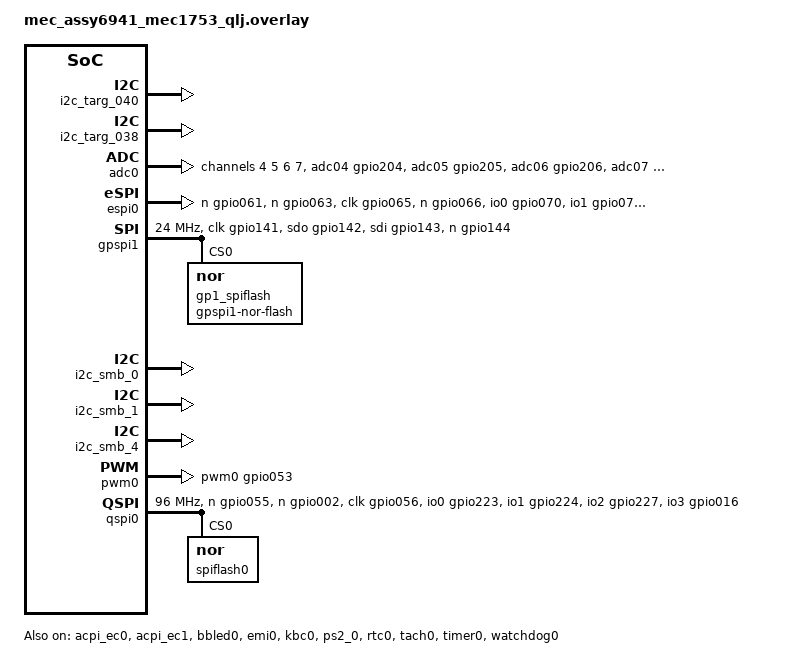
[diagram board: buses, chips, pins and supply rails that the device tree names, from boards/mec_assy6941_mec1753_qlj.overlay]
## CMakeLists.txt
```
# Copyright (c) 2026 Microchip Technology Inc.
#
# SPDX-License-Identifier: Apache-2.0
#
cmake_minimum_required(VERSION 3.20.0)

find_package(Zephyr REQUIRED HINTS $ENV{ZEPHYR_BASE})
project(microchip_mec_assy6941_pm_dev)

file(GLOB app_sources src/*.c)

target_sources(app PRIVATE ${app_sources})
```

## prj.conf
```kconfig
# Copyright (c) 2026 Microchip Technology Inc.
# SPDX-License-Identifier: Apache-2.0

# Console logging. Immediate mode makes log calls synchronous so the
# "entering deep sleep" line is fully flushed before the WFI, and there is
# no deferred log-processing thread that would keep the system from idling
# into the forced suspend-to-RAM state.
CONFIG_STDOUT_CONSOLE=y
CONFIG_LOG=y
CONFIG_LOG_MODE_IMMEDIATE=y

CONFIG_I2C=y
CONFIG_I2C_TARGET=y
# Buffer-mode target callbacks. Required by the NL driver's target_register
# (it rejects a target without buf_write_received); the byte-mode driver
# supports buffer mode too, so one main.c serves both boards.
CONFIG_I2C_TARGET_BUFFER_MODE=y

CONFIG_MSPI=y
CONFIG_MSPI_DMA=y

CONFIG_ADC=y
CONFIG_PWM=y
CONFIG_SENSOR=y

# eSPI
CONFIG_ESPI=y
CONFIG_ESPI_PERIPHERAL_8042_KBC=y
CONFIG_ESPI_PERIPHERAL_EC_HOST_CMD=y
CONFIG_ESPI_PERIPHERAL_ACPI_SHM_REGION=y
CONFIG_ESPI_PERIPHERAL_CUSTOM_OPCODE=y
CONFIG_ESPI_AUTOMATIC_WARNING_ACKNOWLEDGE=n
CONFIG_ESPI_AUTOMATIC_BOOT_DONE_ACKNOWLEDGE=y
# driver debug messages
# CONFIG_ESPI_LOG_LEVEL_DBG=y

CONFIG_PS2=y
CONFIG_PS2_XEC=y

# Power management. CONFIG_PM enables the suspend-to-RAM (deep sleep) state
# defined on the board dts; CONFIG_PM_DEVICE gates the I2C driver's per-device
# pm_action hooks, which arm the START-detect wake on a wakeup-source target.
CONFIG_PM=y
CONFIG_PM_DEVICE=y

# CONFIG_DEBUG=y
```

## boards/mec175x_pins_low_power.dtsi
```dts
/*
 * Copyright (c) 2026 Microchip Technology Inc.
 *
 * SPDX-License-Identifier: Apache-2.0
 */

#include <zephyr/dt-bindings/pinctrl/mchp-xec-pinctrl.h>

/* define sleep states for various pins */
&pinctrl {
	adc04_gpio204_lp: adc04_gpio204_lp {
		pinmux = <MCHP_XEC_PINMUX(0204, MCHP_AF1)>;
		low-power-enable;
	};
	adc05_gpio205_lp: adc05_gpio205_lp {
		pinmux = <MCHP_XEC_PINMUX(0205, MCHP_AF1)>;
		low-power-enable;
	};
	adc06_gpio206_lp: adc06_gpio206_lp {
		pinmux = <MCHP_XEC_PINMUX(0206, MCHP_AF1)>;
		low-power-enable;
	};
	adc07_gpio207_lp: adc07_gpio207_lp {
		pinmux = <MCHP_XEC_PINMUX(0207, MCHP_AF1)>;
		low-power-enable;
	};
	espi_reset_n_gpio061_lp: espi_reset_n_gpio061_lp {
		pinmux = <MCHP_XEC_PINMUX(0061, MCHP_AF1)>;
		low-power-enable;
	};
	espi_alert_n_gpio063_lp: espi_alert_n_gpio063_lp {
		pinmux = <MCHP_XEC_PINMUX(0063, MCHP_AF1)>;
		low-power-enable;
	};
	espi_clk_gpio065_lp: espi_clk_gpio065_lp {
		pinmux = <MCHP_XEC_PINMUX(0065, MCHP_AF1)>;
		low-power-enable;
	};
	espi_cs_n_gpio066_lp: espi_cs_n_gpio066_lp {
		pinmux = <MCHP_XEC_PINMUX(0066, MCHP_AF1)>;
		low-power-enable;
	};
	espi_io0_gpio070_lp: espi_io0_gpio070_lp {
		pinmux = <MCHP_XEC_PINMUX(0070, MCHP_AF1)>;
		low-power-enable;
	};
	espi_io1_gpio071_lp: espi_io1_gpio071_lp {
		pinmux = <MCHP_XEC_PINMUX(0071, MCHP_AF1)>;
		low-power-enable;
	};
	espi_io2_gpio072_lp: espi_io2_gpio072_lp {
		pinmux = <MCHP_XEC_PINMUX(0072, MCHP_AF1)>;
		low-power-enable;
	};
	espi_io3_gpio073_lp: espi_io3_gpio073_lp {
		pinmux = <MCHP_XEC_PINMUX(0073, MCHP_AF1)>;
		low-power-enable;
	};	
	i2c00_sda_gpio003_lp: i2c00_sda_gpio003_lp {
		pinmux = <MCHP_XEC_PINMUX(0003, MCHP_AF1)>;
		low-power-enable;
	};
	i2c00_scl_gpio004_lp: i2c00_scl_gpio004_lp {
		pinmux = <MCHP_XEC_PINMUX(0004, MCHP_AF1)>;
		low-power-enable;
	};
	i2c03_sda_gpio007_lp: i2c03_sda_gpio007_lp {
		pinmux = <MCHP_XEC_PINMUX(0007, MCHP_AF1)>;
		low-power-enable;
	};
	i2c03_scl_gpio010_lp: i2c03_scl_gpio010_lp {
		pinmux = <MCHP_XEC_PINMUX(0010, MCHP_AF1)>;
		low-power-enable;
	};
	i2c07_sda_gpio012_lp: i2c07_sda_gpio012_lp {
		pinmux = <MCHP_XEC_PINMUX(0012, MCHP_AF1)>;
		low-power-enable;
	};
	i2c07_scl_gpio013_lp: i2c07_scl_gpio013_lp {
		pinmux = <MCHP_XEC_PINMUX(0013, MCHP_AF1)>;
		low-power-enable;
	};
	ict0_tach0_gpio050_lp: ict0_tach0_gpio050_lp {
		pinmux = <MCHP_XEC_PINMUX(0050, MCHP_AF1)>;
		low-power-enable;
	};
	led0_gpio156_lp: led0_gpio156_lp {
		pinmux = <MCHP_XEC_PINMUX(0156, MCHP_AF1)>;
		low-power-enable;
	};
	ps2_clk0a_gpio114_lp: ps2_clk0a_gpio114_lp {
		pinmux = <MCHP_XEC_PINMUX(0114, MCHP_AF1)>;
		low-power-enable;
	};
	ps2_dat0a_gpio115_lp: ps2_dat0a_gpio115_lp {
		pinmux = <MCHP_XEC_PINMUX(0115, MCHP_AF1)>;
		low-power-enable;
	};
	pwm0_gpio053_lp: pwm0_gpio053_lp {
		pinmux = <MCHP_XEC_PINMUX(0053, MCHP_AF1)>;
		low-power-enable;
	};
	spi1_clk_gpio141_lp: spi1_clk_gpio141_lp {
		pinmux = <MCHP_XEC_PINMUX(0141, MCHP_AF3)>;
		low-power-enable;
	};
	spi1_sdo_gpio142_lp: spi1_sdo_gpio142_lp {
		pinmux = <MCHP_XEC_PINMUX(0142, MCHP_AF3)>;
		low-power-enable;
	};
	spi1_sdi_gpio143_lp: spi1_sdi_gpio143_lp {
		pinmux = <MCHP_XEC_PINMUX(0143, MCHP_AF3)>;
		low-power-enable;
	};
	spi1_cs_n_gpio144_lp: spi1_cs_n_gpio144_lp {
		pinmux = <MCHP_XEC_PINMUX(0144, MCHP_AF3)>;
		low-power-enable;
	};
};
```

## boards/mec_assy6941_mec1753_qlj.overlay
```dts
/*
 * Copyright (c) 2026 Microchip Technology Inc.
 *
 * SPDX-License-Identifier: Apache-2.0
 */

/* mec_assy6941 EVB - deep-sleep wake-on-I2C sample (I2Cv3-NL / DMA driver).
 *
 * Topology:
 *   SMB0 = controller on port 0 @ 100 kHz.
 *   SMB1 = target 0x40 on port 7 @ 100 kHz (plain, not wake-capable).
 *   SMB4 = target 0x38 on port 3 @ 100 kHz, WAKE-CAPABLE (wakeup-source).
 *
 * Set VTR2 to +3.3V, J68 2x8 1-2.
 *
 * I2C Port 0 (SMB0 controller)
 * ----------------------------
 * JP15 3x6 Pin Mux:   7-8 GPIO004 as I2C00_SCL, 4-5 GPIO003 as I2C00_SDA
 * JP27 3x12 Pin Mux:  31-32 GPIO004 as I2C00_SCL, 34-35 GPIO003 as I2C00_SDA
 * JP70 2x17 Pull-Ups: 19-20 ON, 21-22 ON (7.5K to VTR1)
 * J12 1x6: pin 1 = I2C00_SCL/GPIO004, pin 3 = I2C00_SDA/GPIO003, pin 5 = VTR1
 *
 * I2C Port 7 (SMB1 target 0x40)
 * -----------------------------
 * JP14 3x6:  7-8, 16-17
 * JP76 2x17: 21-22, 23-24 (7.5K to VTR2)
 * J22 1x6: pin 1 = I2C07_SCL/GPIO013, pin 3 = I2C07_SDA/GPIO012, pin 5 = VTR2
 *
 * Pre-sleep loopback self-test wiring (port 0 <-> port 7):
 *   Fly wire J22-1 to J12-1 (SCL) and J22-3 to J12-3 (SDA).
 *   SMB0 (port 0) drives the 0x40 target that SMB1 exposes on port 7.
 *
 * I2C Port 3 (SMB4 target 0x38, wake source)
 * ------------------------------------------
 * I2C03_SDA = GPIO007, I2C03_SCL = GPIO010.
 * Connect the EXTERNAL I2C controller here. After the SoC enters deep
 * sleep, a START + address 0x38 from that controller wakes it.
 *
 * JP11 3x6: PS2 Signal Demux
 * 7-8 jumper ON. Select I2C03_SCL for GPIO010
 * 10-11 jumper ON. Select I2C03_SDA for GPIO007
 *
 * JP29 3x8: UART-3 Signal Demux
 * 7-8 jumper ON. Select I2C03_SDA for GPIO007
 * 16-17 jumper ON. Select I2C03_SCL for GPIO010
 *
 * JP70 2x17: Pull-ups to VTR1(+3.3V)
 * 23-24 jumper ON. 7.5K pull-up on I2C03_SDA
 * 25-26 jumper ON. 7.5K pull-up on I2C03_SCL
 *
 * J15 1x6 header
 * 1 = I2C03_SCL
 * 2 = GND
 * 3 = I2C03_SDA
 * 4 = N/C
 * 5 = VTR1 (+3.3V)
 * 6 = GND
 *
 * Test pins
 * GPIO241
 * JP19 3x6 5-6
 * JP69 2x17 1-2 pull-up (100K) to VTR1
 *
 * GPIO255
 * JP24 3x16 7-8
 * JP74 2x17 29-30 pull-up (100K) to VTR1
 *
 * vci_in1_n_gpio162
 * J56 3-4 no jumper
 * J57 3-4 jumper switch S4 via schmidt trigger U19B
 * JP147 2x17 27-28 no jumper
 *
 * tst_clk_out_gpio060
 * CPU daughter card assy6949 J1 2x5 pin 1 = TST_CLK_OUT_HD, pin 3 = GND
 */

#include <zephyr/dt-bindings/gpio/microchip-xec-gpio.h>
#include <zephyr/dt-bindings/dma/mchp-xec-dmac.h>
#include <zephyr/dt-bindings/i2c/i2c.h>
#include <zephyr/dt-bindings/i2c/mchp-xec-i2c.h>
#include "mec175x_pins_low_power.dtsi"

/ {
	aliases {
		i2c0 = &i2c_smb_0;
		i2c1 = &i2c_smb_1;
		i2c4 = &i2c_smb_4;
	};

	/* Configure GPIO060 as test PLL clock out.
	 * We scope this pin to observe if PLL is turned off in deep sleep (suspend).
	*/
	zephyr,user {
		test-pm-gpios = <MCHP_GPIO_DECODE_241 0>, <MCHP_GPIO_DECODE_255 0>;
		pinctrl-0 = <&tst_clk_out_gpio060 &vci_in1_n_gpio162>;
		pinctrl-names = "default";
	};

	/* Port 0 on SMB0 - controller side of the loopback self-test. */
	i2c0_p0: i2c-port0 {
		compatible = "microchip,xec-i2c-v3-nl-port";
		#address-cells = <1>;
		#size-cells = <0>;
		port = <MCHP_XEC_I2C_CTRL_PORT(0, 0)>;
		controller = <&i2c_smb_0>;
		clock-frequency = <I2C_BITRATE_STANDARD>;
		pinctrl-0 = <&i2c00_sda_gpio003 &i2c00_scl_gpio004>;
		pinctrl-1 = <&i2c00_sda_gpio003_lp &i2c00_scl_gpio004_lp>;
		pinctrl-names = "default", "sleep";
		status = "okay";
	};

	/* Port 7 on SMB1 - plain target 0x40. */
	i2c1_p7: i2c-port7 {
		compatible = "microchip,xec-i2c-v3-nl-port";
		#address-cells = <1>;
		#size-cells = <0>;
		port = <MCHP_XEC_I2C_CTRL_PORT(1, 7)>;
		controller = <&i2c_smb_1>;
		clock-frequency = <I2C_BITRATE_STANDARD>;
		pinctrl-0 = <&i2c07_sda_gpio012 &i2c07_scl_gpio013>;
		pinctrl-1 = <&i2c07_sda_gpio012_lp &i2c07_scl_gpio013_lp>;
		pinctrl-names = "default", "sleep";
		status = "okay";

		i2c_targ_040: i2c_target@40 {
			reg = <0x40>;
			status = "okay";
		};
	};

	/* Port 3 on SMB4 - wake-capable target 0x38, driven by the external
	 * controller that wakes the SoC from deep sleep.
	 */
	i2c4_p3: i2c-port3 {
		compatible = "microchip,xec-i2c-v3-nl-port";
		#address-cells = <1>;
		#size-cells = <0>;
		port = <MCHP_XEC_I2C_CTRL_PORT(4, 3)>;
		controller = <&i2c_smb_4>;
		clock-frequency = <I2C_BITRATE_STANDARD>;
		pinctrl-0 = <&i2c03_sda_gpio007 &i2c03_scl_gpio010>;
		pinctrl-1 = <&i2c03_sda_gpio007_lp &i2c03_scl_gpio010_lp>;
		pinctrl-names = "default", "sleep";
		status = "okay";

		i2c_targ_038: i2c_target@38 {
			reg = <0x38>;
			status = "okay";
		};
	};
};

/* eSPI peripheral channel device */
&acpi_ec0 {
	status = "okay";
};

/* eSPI peripheral channel device */
&acpi_ec1 {
	status = "okay";
};

&adc0 {
	compatible = "microchip,xec-adc";
	#address-cells = <1>;
	#size-cells = <0>;
	status = "okay";
	pinctrl-0 = <&adc04_gpio204 &adc05_gpio205
		     &adc06_gpio206 &adc07_gpio207>;
	pinctrl-1 = <&adc04_gpio204_lp &adc05_gpio205_lp
		     &adc06_gpio206_lp &adc07_gpio207_lp>;
	pinctrl-names = "default", "sleep";
	
	channel@4 {
		reg = <4>;
		zephyr,gain = "ADC_GAIN_1";
		zephyr,reference = "ADC_REF_INTERNAL";
		zephyr,acquisition-time = <0>;
		zephyr,resolution = <12>;
	};

	channel@5 {
		reg = <5>;
		zephyr,gain = "ADC_GAIN_1";
		zephyr,reference = "ADC_REF_INTERNAL";
		zephyr,acquisition-time = <0>;
		zephyr,resolution = <12>;
	};

	channel@6 {
		reg = <6>;
		zephyr,gain = "ADC_GAIN_1";
		zephyr,reference = "ADC_REF_INTERNAL";
		zephyr,acquisition-time = <0>;
		zephyr,resolution = <12>;
	};

	channel@7 {
		reg = <7>;
		zephyr,gain = "ADC_GAIN_1";
		zephyr,reference = "ADC_REF_INTERNAL";
		zephyr,acquisition-time = <0>;
		zephyr,resolution = <12>;
	};	
};

&bbled0 {
	compatible = "microchip,bbled";
	/* TODO compatible = "microchip,pwmbbled"; */
	pinctrl-0 = <&led0_gpio156>;
	pinctrl-1 = <&led0_gpio156_lp>;
	pinctrl-names = "default", "sleep";
	status = "okay";	
};

&bbram {
	status = "okay";
};

&dmac {
	status = "okay";
};

/* eSPI peripheral channel device */
&emi0 {
	status = "okay";
};

&espi0 { /* chip level compatible = "microchip,xec-espi-v2"; */
	status = "okay";
	pinctrl-0 = <&espi_reset_n_gpio061 &espi_alert_n_gpio063
		     &espi_clk_gpio065 &espi_cs_n_gpio066
		     &espi_io0_gpio070 &espi_io1_gpio071
		     &espi_io2_gpio072 &espi_io3_gpio073>;
	pinctrl-1 = <&espi_reset_n_gpio061_lp &espi_alert_n_gpio063_lp
		     &espi_clk_gpio065_lp &espi_cs_n_gpio066_lp
		     &espi_io0_gpio070_lp &espi_io1_gpio071_lp
		     &espi_io2_gpio072_lp &espi_io3_gpio073_lp>;
	pinctrl-names = "default", "sleep";
};

&gpspi1 {
	compatible = "microchip,xec-gpspi-v2-mspi-controller";
	status = "okay";
	dmas = <&dmac 14 DMA_MCHP_XEC_TRIG_SRC_GPSPI1_TX>,
	       <&dmac 15 DMA_MCHP_XEC_TRIG_SRC_GPSPI1_RX>;
	dma-names = "tx", "rx";
	pinctrl-0 = <&spi1_clk_gpio141 &spi1_sdo_gpio142
		     &spi1_sdi_gpio143 &spi1_cs_n_gpio144>;
	pinctrl-1 = <&spi1_clk_gpio141_lp &spi1_sdo_gpio142_lp
		     &spi1_sdi_gpio143_lp &spi1_cs_n_gpio144_lp>;
	pinctrl-names = "default", "sleep";
	clock-frequency = <DT_FREQ_M(24)>;
	op-mode = "MSPI_OP_MODE_CONTROLLER";
	duplex = "MSPI_HALF_DUPLEX";
	
	/* 25Q128JVSM +3.3V
	 * This SPI flash implements single, dual, and quad reads.
	 * For page program it only implements single and quad.
	 * GP-SPI only supports single and dual. Therefore we must
	 * specify single mode here because the MSPI device YAML
	 * binding only has one mspi-io-mode property for all commands.
	 * At the application level we can instantiate separate struct mspi_dev_cfg
	 * for page program 0x02 (1-1-1) and for dual read 0x3B (1-1-2).
	 */
	gp1_spiflash: gpspi1-nor-flash@0 {
		compatible = "jedec,nor";
		reg = <0>;
		mspi-hardware-ce-num = <1>;
		mspi-max-frequency = <DT_FREQ_M(12)>;
		mspi-io-mode = "MSPI_IO_MODE_SINGLE";
		mspi-data-rate = "MSPI_DATA_RATE_SINGLE";
		mspi-endian = "MSPI_BIG_ENDIAN";
		read-command = <0x0b>;
		write-command = <0x02>;
		command-length = "INSTR_1_BYTE";
		address-length = "ADDR_3_BYTE";
		tx-dummy = <0>;
		rx-dummy = <8>;
		size = <DT_SIZE_M(128)>;
		jedec-id = [ef 70 18];
		sfdp-bfp = [00];
		status = "okay";
	};
};

/* SMB0: controller only -> one "host" DMA channel. */
&i2c_smb_0 {
	compatible = "microchip,xec-i2c-v3-nl";
	status = "okay";
	#address-cells = <1>;
	#size-cells = <0>;
	dmas = <&dmac 0 DMA_MCHP_XEC_TRIG_SRC_I2C_SMB0_CTRL>;
	dma-names = "host";
	bounce-buffer-size = <64>;
	default-port = <&i2c0_p0>;
};

/* SMB1: target 0x40 -> needs "host" + "target" DMA channels. */
&i2c_smb_1 {
	compatible = "microchip,xec-i2c-v3-nl";
	status = "okay";
	#address-cells = <1>;
	#size-cells = <0>;
	dmas = <&dmac 1 DMA_MCHP_XEC_TRIG_SRC_I2C_SMB1_CTRL>,
	       <&dmac 2 DMA_MCHP_XEC_TRIG_SRC_I2C_SMB1_TARG>;
	dma-names = "host", "target";
	bounce-buffer-size = <64>;
	target-buffer-size = <64>;
	default-port = <&i2c1_p7>;
	wakeup-source;
};

/* SMB4: wake-capable target 0x38 -> "host" + "target" DMA channels, plus
 * wakeup-source so the driver arms START-detect wake on suspend.
 */
&i2c_smb_4 {
	compatible = "microchip,xec-i2c-v3-nl";
	status = "okay";
	#address-cells = <1>;
	#size-cells = <0>;
	dmas = <&dmac 3 DMA_MCHP_XEC_TRIG_SRC_I2C_SMB4_CTRL>,
	       <&dmac 4 DMA_MCHP_XEC_TRIG_SRC_I2C_SMB4_TARG>;
	dma-names = "host", "target";
	bounce-buffer-size = <64>;
	target-buffer-size = <64>;
	default-port = <&i2c4_p3>;
	wakeup-source;
};

/* Port 0 pins */
&i2c00_sda_gpio003 {
	drive-open-drain;
};

&i2c00_scl_gpio004 {
	drive-open-drain;
};

/* Port 7 pins */
&i2c07_sda_gpio012 {
	drive-open-drain;
	drive-strength = <3>;
};

&i2c07_scl_gpio013 {
	drive-open-drain;
	drive-strength = <3>;
};

/* Port 3 pins */
&i2c03_sda_gpio007 {
	drive-open-drain;
	drive-strength = <3>;
};

&i2c03_scl_gpio010 {
	drive-open-drain;
	drive-strength = <3>;
};

/* eSPI peripheral channel device */
&kbc0 {
	status = "okay";
};

&ps2_0 {
	compatible = "microchip,xec-ps2";
	pinctrl-0 = <&ps2_clk0a_gpio114 &ps2_dat0a_gpio115>;
	pinctrl-1 = <&ps2_clk0a_gpio114_lp &ps2_dat0a_gpio115_lp>;
	pinctrl-names = "default", "sleep";
	status = "okay";	
};

&pwm0 {
	status = "okay";
	pinctrl-0 = <&pwm0_gpio053>;
	pinctrl-1 = <&pwm0_gpio053_lp>;
	pinctrl-names = "default", "sleep";
};

&qspi0 {
	compatible = "microchip,xec-qmspi-controller";
	/* TODO SPI compatible = "microchip,xec-qmspi-ldma" */
	status = "okay";
	pinctrl-0 = <&qspi_shd_cs0_n_gpio055 &qspi_shd_cs1_n_gpio002
		     &qspi_shd_clk_gpio056
		     &qspi_shd_io0_gpio223 &qspi_shd_io1_gpio224
		     &qspi_shd_io2_gpio227 &qspi_shd_io3_gpio016>;
	pinctrl-1 = <&qspi_shd_io3_gpio016_lp &qspi_shd_io2_gpio227_lp
		     &qspi_shd_io1_gpio224_lp &qspi_shd_io0_gpio223_lp
		     &qspi_shd_clk_gpio056_lp &qspi_shd_cs0_n_gpio055_lp>;
	pinctrl-names = "default", "sleep";
	clock-frequency = <DT_FREQ_M(96)>;
	op-mode = "MSPI_OP_MODE_CONTROLLER";
	duplex = "MSPI_HALF_DUPLEX";
	num-hw-ce = <1>; /* Shared SPI supports two HW chip enables. We are using one */
	
	/* Assembly-6791 SPI flash dongle conntected to EVB J18 2x10 with JP87 on 2-3 VTR1(3.3V)
	 * Dongle has four W25Q128JV 128 megabit 3.3 SPI flash chips
	 */
	spiflash0: qspi-nor-flash@0 {
		compatible = "jedec,nor";
		reg = <0>;
		mspi-hardware-ce-num = <0>;
		mspi-max-frequency = <DT_FREQ_M(24)>;
		mspi-io-mode = "MSPI_IO_MODE_QUAD_1_1_4";
		mspi-data-rate = "MSPI_DATA_RATE_SINGLE";
		mspi-endian = "MSPI_BIG_ENDIAN";
		read-command = <0x6b>;
		write-command = <0x32>;
		command-length = "INSTR_1_BYTE";
		address-length = "ADDR_3_BYTE";
		tx-dummy = <0>;
		rx-dummy = <8>;
		size = <DT_SIZE_M(128)>;
		page-size = <256>;
		jedec-id = [ef 40 18];
		sfdp-bfp = [00];
		status = "okay";
	};
};

&rtc0 {
	status = "okay";
};

&tach0 {
	status = "okay";
	pinctrl-0 = <&ict0_tach0_gpio050>;
	pinctrl-1 = <&ict0_tach0_gpio050_lp>;
	pinctrl-names = "default", "sleep";
	tach-edges = <2>;
};

&timer0 {
	status = "okay";	
};

&watchdog0 {
	compatible = "microchip,xec-watchdog";
	status = "okay";
};
```

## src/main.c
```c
/*
 * Copyright (c) 2026 Microchip Technology Inc.
 *
 * SPDX-License-Identifier: Apache-2.0
 */

#include <string.h>
#include <zephyr/kernel.h>
#include <zephyr/device.h>
#include <zephyr/devicetree.h>
#include <zephyr/drivers/gpio.h>
#include <zephyr/drivers/i2c.h>
#include <zephyr/drivers/i2c/mchp_xec_i2c.h>
#include <zephyr/drivers/pinctrl.h>
#include <zephyr/dt-bindings/i2c/i2c.h>
#include <zephyr/logging/log.h>
#include <zephyr/logging/log_ctrl.h>
#include <zephyr/pm/pm.h>
#include <zephyr/pm/device.h>

#include "task_sensor.h"
#include "xec_vci.h"

LOG_MODULE_REGISTER(app, CONFIG_LOG_DEFAULT_LEVEL);

/* Compile-time label for whichever driver the board overlay enabled. */
#if DT_NODE_HAS_COMPAT(DT_NODELABEL(i2c_smb_0), microchip_xec_i2c_v3_nl)
#define DRV_LABEL "microchip,xec-i2c-v3-nl (network-layer/DMA)"
#else
#define DRV_LABEL "microchip,xec-i2c-v3-bm (byte-mode)"
#endif

#define ZEPHYR_USER_NODE DT_PATH(zephyr_user)

PINCTRL_DT_DEFINE(ZEPHYR_USER_NODE);

/* SMB0 port-0 device: the controller bus for the loopback self-test. */
static const struct device *const smb0_port0 = DEVICE_DT_GET(DT_NODELABEL(i2c0_p0));

/* Target specs: .bus is the owning port device, .addr the 7-bit address. */
static const struct i2c_dt_spec targ040 = I2C_DT_SPEC_GET(DT_NODELABEL(i2c_targ_040));

#if DT_NODE_HAS_STATUS_OKAY(DT_NODELABEL(i2c_targ_038))
static const struct i2c_dt_spec targ038 = I2C_DT_SPEC_GET(DT_NODELABEL(i2c_targ_038));
#endif

#define APP_TARG_BUF_SIZE 64U

/* Bounded wait for the loopback target's stop; a wiring fault then surfaces
 * as a FAIL instead of a hang. The deep-sleep wait is unbounded on purpose.
 */
#define LOOPBACK_TIMEOUT K_MSEC(500)

/* Per-target application state. The buffer-mode callbacks resolve their
 * instance from the embedded i2c_target_config via CONTAINER_OF, so one
 * callback table serves both targets.
 */
struct app_target {
	const char *name;
	uint8_t buf[APP_TARG_BUF_SIZE];
	volatile size_t rx_len;      /* bytes stored by buf_write_received */
	volatile uint32_t wr_cnt;    /* buf_write_received invocations */
	volatile uint32_t rd_cnt;    /* buf_read_requested invocations */
	volatile uint32_t stop_cnt;  /* stop invocations */
	volatile uint32_t err_cnt;   /* error invocations */
	struct k_sem stop_sem;
	struct i2c_target_config cfg;
};

static struct app_target t040 = {.name = "0x40"};
#if DT_NODE_HAS_STATUS_OKAY(DT_NODELABEL(i2c_targ_038))
static struct app_target t038 = {.name = "0x38 (wake)"};
#endif

static const struct gpio_dt_spec pm_gpio_pin = GPIO_DT_SPEC_GET(ZEPHYR_USER_NODE, test_pm_gpios);

uint8_t i2c_state_cap_buf[256] __aligned(4);

static void app_buf_wr_recv(struct i2c_target_config *config, uint8_t *ptr, uint32_t len)
{
	struct app_target *t = CONTAINER_OF(config, struct app_target, cfg);
	size_t off = t->rx_len;

	t->wr_cnt++;
	if (ptr == NULL) {
		return;
	}
	for (uint32_t i = 0; (i < len) && (off < sizeof(t->buf)); i++) {
		t->buf[off++] = ptr[i];
	}
	t->rx_len = off;
}

static int app_buf_rd_req(struct i2c_target_config *config, uint8_t **ptr, uint32_t *len)
{
	struct app_target *t = CONTAINER_OF(config, struct app_target, cfg);

	t->rd_cnt++;
	if ((ptr == NULL) || (len == NULL)) {
		return -EINVAL;
	}
	*ptr = t->buf;
	*len = sizeof(t->buf);

	return 0;
}

static int app_stop(struct i2c_target_config *config)
{
	struct app_target *t = CONTAINER_OF(config, struct app_target, cfg);

	t->stop_cnt++;
	k_sem_give(&t->stop_sem);

	return 0;
}

static void app_error(struct i2c_target_config *config, enum i2c_error_reason reason)
{
	struct app_target *t = CONTAINER_OF(config, struct app_target, cfg);

	ARG_UNUSED(reason);
	t->err_cnt++;
}

static const struct i2c_target_callbacks app_callbacks = {
	.buf_write_received = app_buf_wr_recv,
	.buf_read_requested = app_buf_rd_req,
	.stop = app_stop,
	.error = app_error,
};

static void reset_target(struct app_target *t)
{
	t->rx_len = 0;
	t->wr_cnt = 0;
	t->rd_cnt = 0;
	t->stop_cnt = 0;
	t->err_cnt = 0;
	memset(t->buf, 0, sizeof(t->buf));
	k_sem_reset(&t->stop_sem);
}

static int register_target(const struct i2c_dt_spec *spec, struct app_target *t)
{
	int rc;

	k_sem_init(&t->stop_sem, 0, 1);
	reset_target(t);

	t->cfg.flags = 0;
	t->cfg.address = spec->addr;
	t->cfg.callbacks = &app_callbacks;

	LOG_INF("Register target %s (0x%02x) on %s", t->name, spec->addr, spec->bus->name);
	rc = i2c_target_register(spec->bus, &t->cfg);
	if (rc != 0) {
		LOG_ERR("i2c_target_register %s failed (%d)", t->name, rc);
	}

	return rc;
}

/* Pre-sleep loopback self-test: SMB0 (port 0) writes 4 bytes to the 0x40
 * target that SMB1 exposes on port 7 (fly-wired), then reads them back.
 * Returns 0 on PASS. Requires the J12<->J22 fly wire.
 */
static int loopback_self_test(void)
{
	static const uint8_t tx[4] = {0xDEU, 0xADU, 0xBEU, 0xEFU};
	uint8_t rx[4] = {0};
	int rc;

	reset_target(&t040);

	rc = i2c_write(smb0_port0, tx, sizeof(tx), targ040.addr);
	if (rc != 0) {
		LOG_ERR("loopback: i2c_write to 0x%02x failed (%d) - check J12<->J22 fly wire",
			targ040.addr, rc);
		return rc;
	}

	rc = k_sem_take(&t040.stop_sem, LOOPBACK_TIMEOUT);
	if (rc != 0) {
		LOG_ERR("loopback: no stop from 0x%02x target (%d)", targ040.addr, rc);
		return rc;
	}

	if ((t040.wr_cnt != 1U) || (t040.rx_len != sizeof(tx)) ||
	    (memcmp(t040.buf, tx, sizeof(tx)) != 0)) {
		LOG_ERR("loopback: write mismatch wr_cnt=%u rx_len=%u", t040.wr_cnt,
			(unsigned int)t040.rx_len);
		return -EIO;
	}

	/* Read the same bytes back over the wire. */
	rc = i2c_read(smb0_port0, rx, sizeof(rx), targ040.addr);
	if (rc != 0) {
		LOG_ERR("loopback: i2c_read from 0x%02x failed (%d)", targ040.addr, rc);
		return rc;
	}
	if (memcmp(rx, tx, sizeof(tx)) != 0) {
		LOG_ERR("loopback: read-back mismatch");
		return -EIO;
	}

	LOG_INF("loopback self-test PASS: wrote/read {%02x %02x %02x %02x} via 0x%02x",
		rx[0], rx[1], rx[2], rx[3], targ040.addr);

	return 0;
}

#if 0
static void pr_pcr_clk_req_from_vbat(void)
{
	uintptr_t vbmem_addr = (uintptr_t)DT_REG_ADDR(DT_NODELABEL(bbram));

	for (uint32_t i = 0; i < 5U; i++) {
		LOG_INF("PCR CLK_REQ[%u] = 0x%08x", i, sys_read32(vbmem_addr));
		vbmem_addr += 4U;
	}
}
#endif

#if 0
extern uint32_t soc_pcr_clk_req[5];

static void pr_pcr_clk_req_wait(void)
{
	for (uint32_t i = 0; i < 5U; i++) {
		LOG_INF("PCR CLK_REQ_wait[%u] = 0x%08x", i, soc_pcr_clk_req[i]);
	}
}
#endif

#define XFR_BUF_LEN 1024U
static uint8_t xfrbuf[XFR_BUF_LEN];

int main(void)
{
	const struct pinctrl_dev_config *zu_pcfg = PINCTRL_DT_DEV_CONFIG_GET(ZEPHYR_USER_NODE);
	int rc = 0;
	uint32_t r = 0;
	uint64_t loop_count = 0;

	LOG_INF("PM Device sample");

#ifdef CONFIG_BOARD_QUALIFIERS
	LOG_INF("Board: %s/%s", CONFIG_BOARD, CONFIG_BOARD_QUALIFIERS);
#else
	LOG_INF("Board: %s", CONFIG_BOARD);
#endif

	LOG_INF("I2C driver: %s", DRV_LABEL);

	memset(i2c_state_cap_buf, 0, sizeof(i2c_state_cap_buf));
	memset(xfrbuf, 0, sizeof(xfrbuf));

	if (!gpio_is_ready_dt(&pm_gpio_pin)) {
		LOG_ERR("PM GPIO pin is not ready!");
	}

	rc = gpio_pin_configure_dt(&pm_gpio_pin, GPIO_OUTPUT_HIGH);
	if (rc != 0) {
		LOG_ERR("PM GPIO pin configuration error (%d)", rc);
	}

	rc = pinctrl_apply_state(zu_pcfg, PINCTRL_STATE_DEFAULT);
	if (rc != 0) {
		LOG_ERR("Failed to configure zephyr-user pins (%d)", rc);
	}

#if DT_NODE_HAS_STATUS_OKAY(DT_NODELABEL(i2c_targ_038))
	if (!device_is_ready(smb0_port0) || !device_is_ready(targ040.bus) ||
	    !device_is_ready(targ038.bus)) {
#else
	if (!device_is_ready(smb0_port0) || !device_is_ready(targ040.bus)) {
#endif
		LOG_ERR("I2C bus device(s) not ready");
		return 0;
	}

	/* Register both targets. The 0x38 target is on the wakeup-source SMB4
	 * controller, so registering it arms the deep-sleep wake path.
	 */
	if (register_target(&targ040, &t040) != 0) {
		return 0;
	}
#if DT_NODE_HAS_STATUS_OKAY(DT_NODELABEL(i2c_targ_038))
	if (register_target(&targ038, &t038) != 0) {
		return 0;
	}
#endif

	/* Phase 1: prove the controller + target paths before sleeping. */
	LOG_INF("Loop back self test");
	rc = loopback_self_test();
	if (rc != 0) {
		LOG_WRN("loopback self-test FAILED (%d); continuing to deep-sleep demo", rc);
	}

	LOG_INF("Write to non-existent device for checking DMA block CLK_REQ");
	rc = i2c_write(smb0_port0, (const uint8_t *)xfrbuf, XFR_BUF_LEN, 0x23);
	LOG_INF("I2C write to non-existent device returned (%d)", rc);

	k_thread_start(app_task_sensor);

#if DT_NODE_HAS_STATUS_OKAY(DT_NODELABEL(i2c_targ_038))
#if defined(CONFIG_PM) || defined(CONFIG_PM_DEVICE)
	while (1) {
		loop_count++;
		LOG_INF("Deep sleep loop %llu", loop_count);

		mchp_vci_in_input_enable(BIT(MEC_VCI_IN1_POS));
		mchp_vci_in_latch_enable(BIT(MEC_VCI_IN1_POS));
		mchp_vci_edge_detect_clr_all();
		mchp_vci_in_latch_reset(BIT(MEC_VCI_IN1_POS));

		LOG_INF("Disconnect Debugger and press switch S4 when ready");
		r = mchp_vci_pedge_detect() & mchp_vci_nedge_detect();
		while ((r & BIT(MEC_VCI_IN1_POS)) == 0) {
			r = mchp_vci_pedge_detect() & mchp_vci_nedge_detect();
		}

		/* Phase 2: force deep sleep and wait for an external wake on 0x38. */
		reset_target(&t038);

		LOG_INF("Forcing deep sleep (PM_STATE_SUSPEND_TO_RAM).");
		LOG_INF("Wake it: drive START + address 0x%02x from an external I2C", targ038.addr);
		LOG_INF("controller on port 3 (SDA=GPIO007, SCL=GPIO010).");

		/* Force the deepest state on next idle. Blocking on the wake semaphore
		 * lets the idle thread run and enter suspend-to-RAM; the external write
		 * to 0x38 wakes the CPU (own-address match, GIRQ13), the driver runs the
		 * target callbacks, and app_stop() gives the semaphore below.
		 */
		if (!pm_state_force(0U, &(struct pm_state_info){PM_STATE_SUSPEND_TO_RAM, 0, 0})) {
			LOG_ERR("pm_state_force(SUSPEND_TO_RAM) rejected");
			return 0;
		}

		k_sem_take(&t038.stop_sem, K_FOREVER);

		/* Woke. */
		LOG_INF("WOKE from deep sleep via target 0x%02x: wr_cnt=%u rd_cnt=%u rx_len=%u",
			targ038.addr, t038.wr_cnt, t038.rd_cnt, (unsigned int)t038.rx_len);
		if (t038.rx_len > 0U) {
			LOG_HEXDUMP_INF(t038.buf, t038.rx_len, "bytes received from external controller:");
		}

		LOG_INF("PCR CLK_REQ captured just before WFI");
		/* pr_pcr_clk_req_from_vbat(); */
		/* pr_pcr_clk_req_wait(); */

#if DT_NODE_HAS_COMPAT(DT_NODELABEL(i2c_smb_4), microchip_xec_i2c_v3_nl)
#ifdef CONFIG_I2C_MCHP_XEC_V3_NL_STATE_CAPTURE
		rc = mchp_xec_i2c_nl_copy_capture(targ038.bus, i2c_state_cap_buf, 256U);
#endif
#else
#ifdef CONFIG_I2C_MCHP_XEC_V3_BM_STATE_CAPTURE
		rc = mchp_xec_i2c_bm_copy_capture(targ038.bus, i2c_state_cap_buf, 256U);
#endif
#endif
		if (rc == 0) {
			LOG_HEXDUMP_INF(i2c_state_cap_buf, 256U, "targ038.bus states");
		} else {
			LOG_ERR("I2C BM state capture copy error (%d)", rc);
		}
	} /* end while (1) */
#endif
#endif
	LOG_INF("Deep-sleep I2C wake demo complete; halting.");
	log_flush();

	k_sleep(K_FOREVER);

	return 0;
}
```

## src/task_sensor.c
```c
/*
 * Copyright (c) 2026 Microchip Technology Inc.
 *
 * SPDX-License-Identifier: Apache-2.0
 */

#include <string.h>
#include <zephyr/kernel.h>
#include <zephyr/device.h>
#include <zephyr/devicetree.h>
#include <zephyr/drivers/gpio.h>
#include <zephyr/drivers/pinctrl.h>
#include <zephyr/logging/log.h>
#include <zephyr/logging/log_ctrl.h>

LOG_MODULE_REGISTER(app_sensor_task, CONFIG_LOG_DEFAULT_LEVEL);

#define APP_TASK_SENSOR_STACK_SIZE 1024
#define APP_TASK_SENSOR_PRIORITY 7

void app_task_sensor_entry(void *p1, void *p2, void *p3)
{
	LOG_INF("Task sensor init");

	while (1) {
		LOG_INF("Task sensor wake");
		k_msleep(1000);
	}
}

/* next to last is options
 *   K_ESSENTIAL if the task is vital trigger kernel panic or system reset if task crashes
 *   K_FP_REGS if the task needs the FPU
 *   K_DSP_REGS if the task needs the DSP regs
 *   
 * last is delay
 * Using K_THREAD_NO_START means the kernel will allocate the threads stack and control block
 * bit keep it in inactive state. It will not be added to the scheduler's ready queue
 * until the app calls k_thread_start().
 */
K_THREAD_DEFINE(app_task_sensor, APP_TASK_SENSOR_STACK_SIZE, app_task_sensor_entry,
		NULL, NULL, NULL, APP_TASK_SENSOR_PRIORITY, 0, -1);
```

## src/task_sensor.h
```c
/*
 * Copyright (c) 2026 Microchip Technology Inc.
 *
 * SPDX-License-Identifier: Apache-2.0
 */
#ifndef _APP_TASK_SENSOR_H
#define _APP_TASK_SENSOR_H

#include <zephyr/kernel.h>

extern const k_tid_t app_task_sensor;

#endif /* _APP_TASK_SENSOR_H */
```
